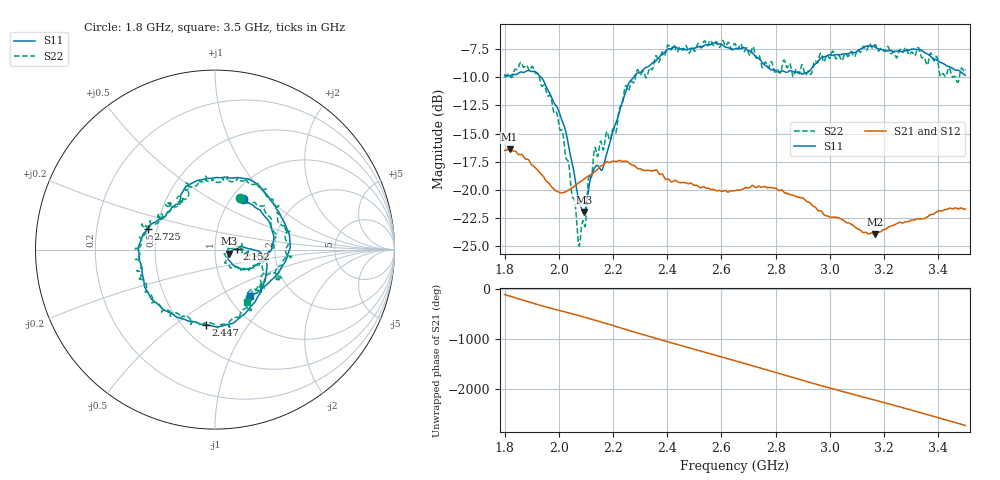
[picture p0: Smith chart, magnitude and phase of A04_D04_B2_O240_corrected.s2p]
! Created with skrf 1.9.0 (http://scikit-rf.org).
# Hz S RI R 50.0
!freq ReS11 ImS11 ReS21 ImS21 ReS12 ImS12 ReS22 ImS22
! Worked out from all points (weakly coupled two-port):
!   1601 points, 1.8 GHz to 3.5 GHz, reference 50 ohm
!   highest |S21| = -16.42 dB at 1.818 GHz (marker M1); lowest = -24.0 dB at 3.165 GHz (marker M2)
!   lowest |S11| = -22.0 dB at 2.092 GHz (marker M3), VSWR 1.17, Z = 58.2 - j2.67 ohm
!   |S11| at or under -10 dB: 1.934 GHz to 2.276 GHz (342.2 MHz wide, 16.3 % of centre)
!   |S22| runs from -25.0 to -6.7 dB; largest |S21 - S12| = 0.0024
!   S11 on the Smith chart (normalised r, x): 1.8 GHz: 1.13, +0.71; 2.152 GHz: 1.28, +0.01; 2.447 GHz: 0.65, -0.66; 2.725 GHz: 0.45, +0.12; 3.5 GHz: 1.26, -0.72
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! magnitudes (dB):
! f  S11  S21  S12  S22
! 1.8 GHz  -9.8  -16.5  -16.5  -9.9
! 1.818 GHz  -9.9  -16.4  -16.4  -9.8
! 1.903 GHz  -9.5  -17.8  -17.8  -9.1
! 1.968 GHz  -11.5  -19.6  -19.6  -11.6
! 2.023 GHz  -14.6  -20.2  -20.2  -16.8
! 2.072 GHz  -20.7  -19.4  -19.4  -24.7
! 2.084 GHz  -21.7  -19.2  -19.2  -23.2
! 2.092 GHz  -22.0  -19.1  -19.1  -22.9
! 2.13 GHz  -18.1  -18.4  -18.4  -16.5
! 2.152 GHz  -18.1  -17.9  -18.0  -15.8
! 2.209 GHz  -14.1  -17.5  -17.4  -15.0
! 2.259 GHz  -10.5  -17.6  -17.6  -11.1
! 2.367 GHz  -8.3  -18.5  -18.4  -8.7
! 2.447 GHz  -7.5  -19.4  -19.3  -7.3
! 2.65 GHz  -7.5  -20.1  -20.0  -7.0
! 2.725 GHz  -8.2  -19.8  -19.8  -8.1
! 2.934 GHz  -9.2  -21.4  -21.3  -9.6
! 3.165 GHz  -7.3  -24.0  -23.9  -7.1
! 3.217 GHz  -7.6  -23.3  -23.2  -7.4
! 3.327 GHz  -7.5  -22.6  -22.5  -7.4
! 3.468 GHz  -9.4  -21.6  -21.6  -10.3
! 3.5 GHz  -9.8  -21.7  -21.6  -9.3
